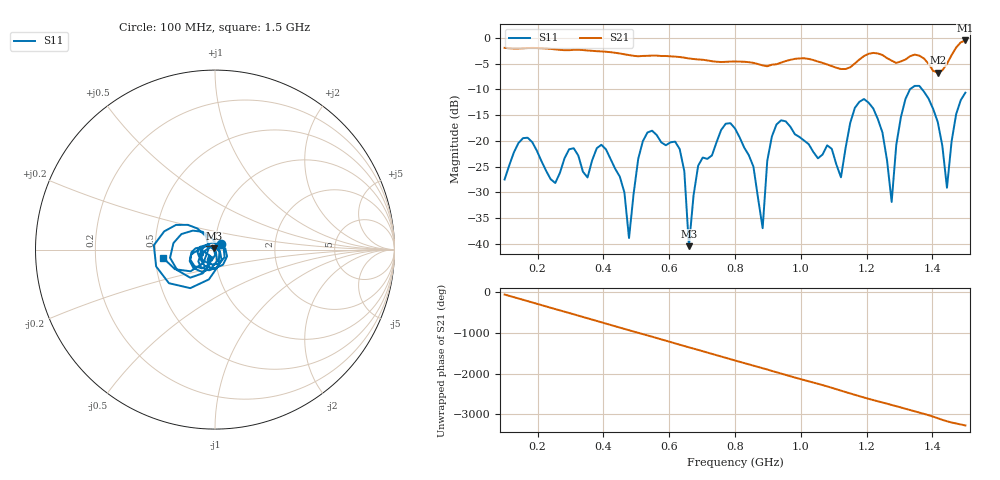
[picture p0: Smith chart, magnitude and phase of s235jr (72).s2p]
! NanoVNA-App
! Date: 2025-09-25 15:04:43
! Start: 100MHz Stop: 1,5GHz Points: 101
! S-Parameter data: F S11 S21 S12 S22
# Hz S RI R 50
!  Frequency  S11_Real  S11_Imag  S21_Real  S21_Imag  S12_Real  S12_Imag  S22_Real  S22_Imag
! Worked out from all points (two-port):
!   101 points, 100 MHz to 1.5 GHz, reference 50 ohm
!   highest |S21| = -0.53 dB at 1.5 GHz (marker M1); lowest = -6.8 dB at 1.416 GHz (marker M2)
!   |S21| within 3 dB of the highest: start of sweep to 495.2 MHz; 1.193 GHz to 1.252 GHz (59.32 MHz wide, 4.85 % of centre) (the widest 2 of 5)
!   lowest |S11| = -40.4 dB at 660 MHz (marker M3), VSWR 1.02, Z = 49.3 + j0.633 ohm
!   |S11| at or under -10 dB: start of sweep to 1.332 GHz; 1.368 GHz to end of sweep
!   S12 and S22 are empty: the file has one direction only
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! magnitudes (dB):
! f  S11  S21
! 100 MHz  -27.5  -2.0
! 156 MHz  -19.5  -2.0
! 338 MHz  -26.0  -2.4
! 408 MHz  -21.7  -2.7
! 478 MHz  -38.8  -3.4
! 520 MHz  -20.1  -3.5
! 576 MHz  -20.3  -3.5
! 632 MHz  -21.6  -3.7
! 660 MHz  -40.4  -4.0
! 688 MHz  -24.8  -4.2
! 800 MHz  -17.6  -4.6
! 884 MHz  -36.9  -5.4
! 926 MHz  -16.8  -5.1
! 1.038 GHz  -22.2  -4.3
! 1.122 GHz  -27.1  -6.1
! 1.192 GHz  -11.9  -3.6
! 1.248 GHz  -18.4  -3.3
! 1.276 GHz  -31.8  -4.4
! 1.332 GHz  -10.0  -3.6
! 1.416 GHz  -16.3  -6.8
! 1.444 GHz  -29.1  -5.1
! 1.5 GHz  -10.7  -0.5
